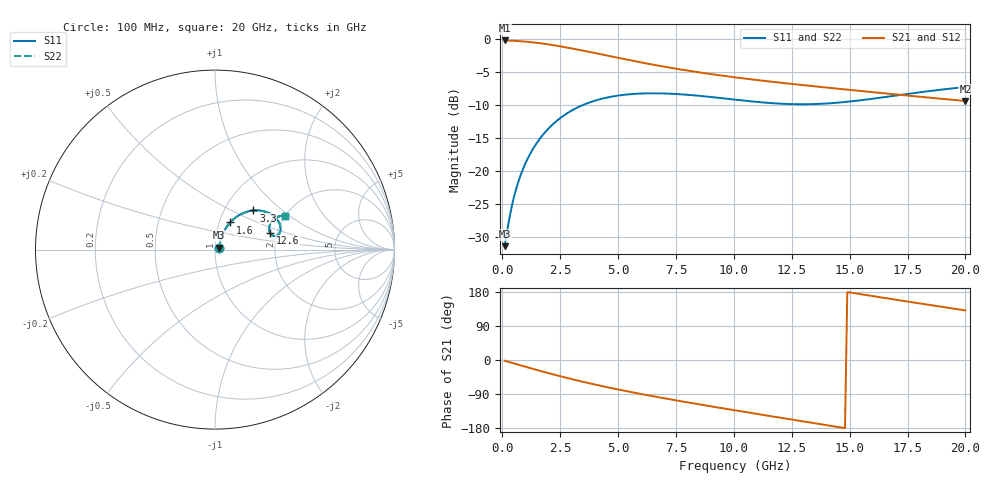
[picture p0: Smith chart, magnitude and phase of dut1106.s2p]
! Touchstone file exported from HFSS 2024.1.0
!  File:  C:/UserFiles/LocalFiles/RDL_TSV_Batchsim/temp_RDL_TSV_1106_1780101565.aedt
!  Generated:  01:52:27 PM May 30, 2026
!  Design:  RDL_TSV
!  Project:  temp_RDL_TSV_1106_1780101565
!  Setup:  Setup1
!  Solution:  Sweep
! Variables:
!  dtsv = 5.54um
!  hbump = 3um
!  htsv = 62.29um
!  ldown = 301.12um
!  lrdl = 671.07um
!  p = 40
!  p1 = 45.73um
!  rhole = 10um
!  subl = 3587.64um
!  t = 450um
!  tdown = 2.12um
!  trdl = 4.63um
!  viad = 10um
!  wdown = 25.15um
!  wrdl = 12.04um
!  xbump = 18um
# GHz S MA R 50.000000
! Terminal data exported
! Port[1] = TM1_1_T1
! Port[2] = TM1_4_T1
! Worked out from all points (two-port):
!   200 points, 100 MHz to 20 GHz, reference 50 ohm
!   highest |S21| = -0.21 dB at 100 MHz (marker M1); lowest = -9.4 dB at 20 GHz (marker M2)
!   |S21| within 3 dB of the highest: start of sweep to 5.509 GHz
!   lowest |S11| = -31.4 dB at 100 MHz (marker M3), VSWR 1.06, Z = 52.5 + j1.2 ohm
!   |S11| at or under -10 dB: start of sweep to 3.488 GHz
!   |S22| runs from -31.4 to -7.3 dB; largest |S21 - S12| = 9.2e-14
!   S11 on the Smith chart (normalised r, x): 100 MHz: 1.05, +0.02; 1.6 GHz: 1.13, +0.35; 3.3 GHz: 1.36, +0.66; 12.6 GHz: 1.83, +0.39; 20 GHz: 1.99, +0.92
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0.1  0.02684 25.1  0.9758 -1.8  0.9758 -1.8  0.02685 25.1
! Gamma 0 0 0 0
! Port Impedance 50 0 50 0
0.4  0.05294 56.1  0.9717 -7.3  0.9717 -7.3  0.05294 56.0
0.5  0.063 59.3  0.9698 -9.0  0.9698 -9.0  0.063 59.3
0.7  0.08343 62.5  0.9651 -12.6  0.9651 -12.6  0.08343 62.5
1.1  0.1243 63.4  0.9526 -19.6  0.9526 -19.6  0.1243 63.4
1.6  0.1734 60.8  0.9312 -28.1  0.9312 -28.1  0.1734 60.7
2.4  0.2435 53.9  0.8868 -41.2  0.8868 -41.2  0.2434 53.9
3.3  0.3057 45.5  0.8289 -54.9  0.8289 -54.9  0.3055 45.4
3.5  0.3169 43.6  0.8157 -57.8  0.8157 -57.8  0.3167 43.6
4.2  0.3489 37.5  0.7697 -67.5  0.7697 -67.5  0.3486 37.4
4.9  0.3703 31.9  0.7261 -76.6  0.7261 -76.6  0.37 31.8
5.8  0.3847 25.7  0.675 -87.5  0.675 -87.5  0.3843 25.7
6.8  0.3873 20.2  0.6258 -98.9  0.6258 -98.9  0.3868 20.2
8.4  0.3725 14.5  0.5624 -116.0  0.5624 -116.0  0.3719 14.4
10.1  0.3463 12.6  0.5111 -133.3  0.5111 -133.3  0.3457 12.5
11.3  0.3299 13.8  0.4819 -145.3  0.4819 -145.3  0.3292 13.8
12.6  0.3206 17.1  0.4547 -158.2  0.4547 -158.2  0.3199 17.1
13.4  0.3209 19.7  0.4394 -166.0  0.4394 -166.0  0.3202 19.6
15  0.3358 24.4  0.4115 178.3  0.4115 178.3  0.3352 24.4
16.7  0.3666 27.2  0.3845 161.8  0.3845 161.8  0.366 27.2
18.4  0.4022 27.4  0.3599 145.7  0.3599 145.7  0.4016 27.4
20  0.4322 25.9  0.3391 130.9  0.3391 130.9  0.4316 25.9
